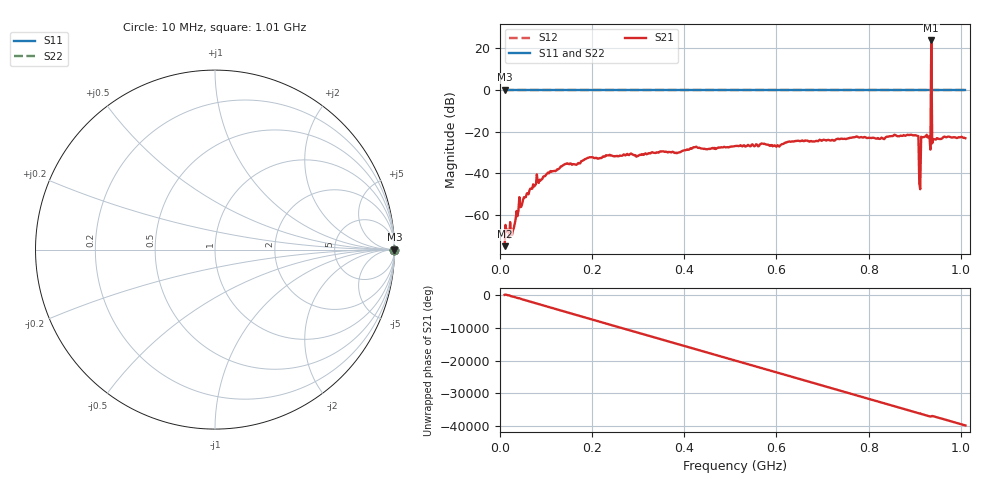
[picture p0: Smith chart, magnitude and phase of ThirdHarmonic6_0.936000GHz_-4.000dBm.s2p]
! 8/16/2025 6:28:32 AM
! C:\ANRITSUVNA\TEMP\TEMP.S2P
! CHANNEL.1
! TR.MEASUREMENT
! RAW.DATA
! RF.CORRECTION.OFF
! AVERAGING.OFF
! IF.BANDWIDTH: 5KHZ
! SWEEPTYPE:  FREQ.SWEEP(Linear)
! Reference Plane Port Info
! PORT:  PORT1  PORT2
! DISTANCE:  0  m  0  m
! TIME:  0  s  0  s
! PHASE.OFFSET:  0  deg.  0  deg.
! LOSS:  0  dB  0  dB
! REF.LOSS:  0  dB  0  dB
! REF.FREQ:  0  Hz  0  Hz
! Power Info
! POWER:  -20  dBm  -20  dBm
! EFF.POWER:  -20  dBm  -20  dBm
! SOURCE.ATTEN:  0  dB  0  dB
! TEST.ATTEN:  0  dB  0  dB
# GHZ S RI R 50.0
! FREQ.GHZ  S11RE  S11IM  S21RE  S21IM  S12RE  S12IM  S22RE  S22IM
!; PortSelection: Port_12
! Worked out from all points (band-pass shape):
!   501 points, 10 MHz to 1.01 GHz, reference 50 ohm
!   highest |S21| = 23.53 dB at 936 MHz (marker M1); lowest = -74.8 dB at 10 MHz (marker M2)
!   |S21| within 3 dB of the highest: 935.885 MHz to 936.122 MHz (237 kHz wide, 0.0253 % of centre)
!   lowest |S11| = 0.0 dB at 10 MHz (marker M3)
!   |S11| at or under -10 dB: nowhere
!   |S22| runs from 0.0 to 0.0 dB; largest |S21 - S12| = 15
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0.01  1 0  0.00016 -8.67e-05  1 0  1 0
0.016  1 0  0.00014 -0.000427  1 0  1 0
0.028  1 0  -0.000342 0.000259  1 0  1 0
0.04  1 0  0.00103 0.000784  1 0  1 0
0.076  1 0  0.00511 0.000548  1 0  1 0
0.142  1 0  -0.0154 -0.0069  1 0  1 0
0.178  1 0  -0.019 -0.00549  1 0  1 0
0.234  1 0  -0.000169 0.0268  1 0  1 0
0.344  1 0  0.0309 -0.00403  1 0  1 0
0.51  1 0  -0.0435 0.01  1 0  1 0
0.678  1 0  -0.0173 -0.0549  1 0  1 0
0.844  1 0  0.0457 0.0614  1 0  1 0
0.904  1 0  -0.0656 0.0453  1 0  1 0
0.908  1 0  0.0747 -0.02  1 0  1 0
0.914  1 0  -0.0184 0.0726  1 0  1 0
0.918  1 0  0.041 -0.0609  1 0  1 0
0.93  1 0  -0.0733 -0.00524  1 0  1 0
0.932  1 0  -0.0194 0.0751  1 0  1 0
0.936  1 0  1.885 14.9  1 0  1 0
0.94  1 0  -0.0418 0.0511  1 0  1 0
0.942  1 0  0.039 0.0524  1 0  1 0
1.01  1 0  -0.0655 -0.0222  1 0  1 0
